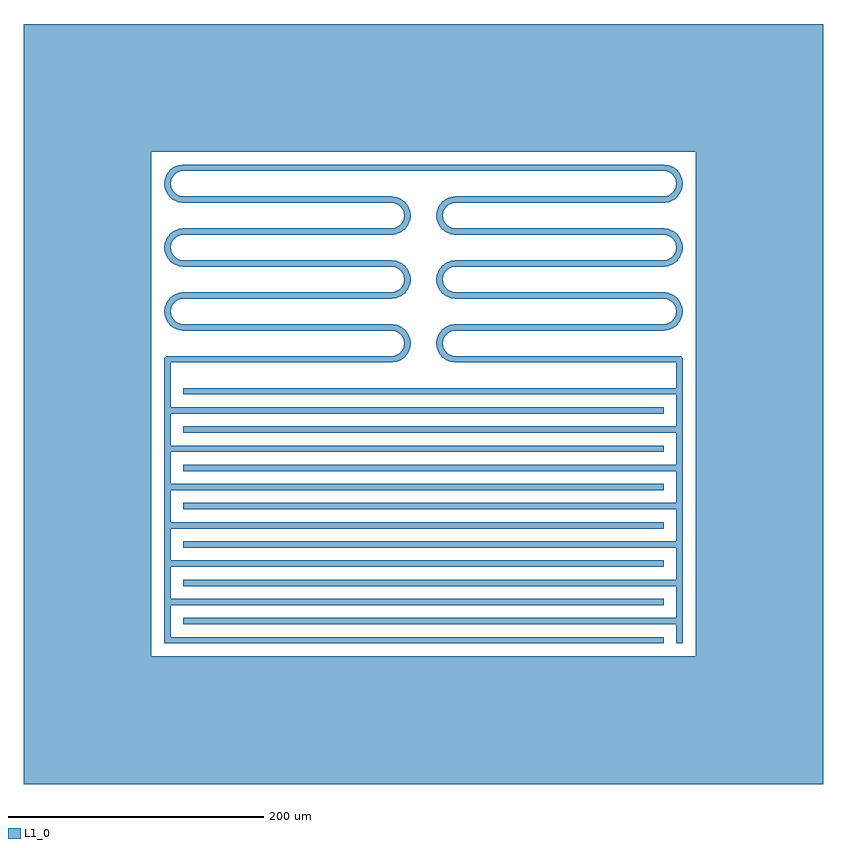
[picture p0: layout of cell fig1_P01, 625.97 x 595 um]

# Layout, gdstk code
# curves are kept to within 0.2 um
import gdstk
lib = gdstk.Library(unit=1e-6, precision=1e-09)
def R(c, l, rs):  # rectangles x0, y0, x1, y1
    for r in rs: c.add(gdstk.rectangle(r[:2], r[2:], *l))
def A(c, l, x, y, w, h, nx, ny, dx, dy):  # array of equal rectangles
    R(c, l, [(x+i*dx, y+j*dy, x+i*dx+w, y+j*dy+h) for i in range(nx) for j in range(ny)])
def P(c, l, *ps):  # polygons
    for p in ps: c.add(gdstk.Polygon(p, *l))
L1_0 = (1, 0)

fig1_p01 = lib.new_cell('fig1_P01')
A(fig1_p01, L1_0, -202.984, 0, 390.968, 5, 1, 7, 0, 30)
A(fig1_p01, L1_0, -187.984, 15, 390.968, 5, 1, 7, 0, 30)
A(fig1_p01, L1_0, -187.984, 245, 162.984, 5, 1, 5, 0, 25)
A(fig1_p01, L1_0, 25, 245, 162.984, 5, 1, 5, 0, 25)
R(fig1_p01, L1_0, [(-312.984,-110,312.984,-10), (-312.984,-10,-212.984,385), (212.984,-10,312.984,385), (-202.984,0,-197.984,200), (197.984,0,202.984,200), (-202.984,197.5,-197.984,222.5), (197.984,197.5,202.984,222.5), (-200.484,220,-25,225), (25,220,200.484,225), (-187.984,370,187.984,375), (-312.984,385,312.984,485)])
P(fig1_p01, L1_0, [(14.979,334.674),(10.021,335.326),(10.447,338.562),(15.405,337.909)],
  [(12.926,335.735),(11.158,336.467),(10.426,338.235),(11.158,340.003),(12.926,340.735),(14.694,340.003),(15.426,338.235),(14.694,336.467)],
  [(12.5,332.5),(10.732,333.232),(10,335),(10.732,336.768),(12.5,337.5),(14.268,336.768),(15,335),(14.268,333.232)],
  [(195.756,347.191),(192.712,351.158),(195.301,353.145),(198.345,349.178)],
  [(192.176,345.616),(190.263,350.236),(193.277,351.484),(195.191,346.865)],
  [(188.31,345.021),(187.658,349.979),(190.893,350.405),(191.546,345.447)],
  [(190.893,369.595),(187.658,370.021),(188.31,374.979),(191.546,374.553)],
  [(193.277,368.516),(190.263,369.764),(192.176,374.384),(195.191,373.135)],
  [(195.301,366.855),(192.712,368.842),(195.756,372.809),(198.345,370.822)],
  [(196.826,364.728),(194.839,367.317),(198.806,370.361),(200.793,367.772)],
  [(197.748,362.279),(196.5,365.293),(201.119,367.207),(202.368,364.192)],
  [(198.005,359.674),(197.579,362.909),(202.537,363.562),(202.963,360.326)],
  [(202.537,356.438),(197.579,357.091),(198.005,360.326),(202.963,359.674)],
  [(187.984,370),(186.216,370.732),(185.484,372.5),(186.216,374.268),(187.984,375),(189.752,374.268),(190.484,372.5),(189.752,370.732)],
  [(191.219,369.574),(189.451,370.306),(188.719,372.074),(189.451,373.842),(191.219,374.574),(192.987,373.842),(193.719,372.074),(192.987,370.306)],
  [(194.234,368.325),(192.466,369.058),(191.734,370.825),(192.466,372.593),(194.234,373.325),(196.002,372.593),(196.734,370.825),(196.002,369.058)],
  [(196.823,366.339),(195.055,367.071),(194.323,368.839),(195.055,370.607),(196.823,371.339),(198.591,370.607),(199.323,368.839),(198.591,367.071)],
  [(198.809,363.75),(197.042,364.482),(196.309,366.25),(197.042,368.018),(198.809,368.75),(200.577,368.018),(201.309,366.25),(200.577,364.482)],
  [(200.058,360.735),(198.29,361.467),(197.558,363.235),(198.29,365.003),(200.058,365.735),(201.826,365.003),(202.558,363.235),(201.826,361.467)],
  [(200.484,357.5),(198.716,358.232),(197.984,360),(198.716,361.768),(200.484,362.5),(202.252,361.768),(202.984,360),(202.252,358.232)],
  [(200.058,354.265),(198.29,354.997),(197.558,356.765),(198.29,358.533),(200.058,359.265),(201.826,358.533),(202.558,356.765),(201.826,354.997)],
  [(198.809,351.25),(197.042,351.982),(196.309,353.75),(197.042,355.518),(198.809,356.25),(200.577,355.518),(201.309,353.75),(200.577,351.982)],
  [(196.823,348.661),(195.055,349.393),(194.323,351.161),(195.055,352.929),(196.823,353.661),(198.591,352.929),(199.323,351.161),(198.591,349.393)],
  [(194.234,346.675),(192.466,347.407),(191.734,349.175),(192.466,350.942),(194.234,351.675),(196.002,350.942),(196.734,349.175),(196.002,347.407)],
  [(191.219,345.426),(189.451,346.158),(188.719,347.926),(189.451,349.694),(191.219,350.426),(192.987,349.694),(193.719,347.926),(192.987,346.158)],
  [(187.984,345),(186.216,345.732),(185.484,347.5),(186.216,349.268),(187.984,350),(189.752,349.268),(190.484,347.5),(189.752,345.732)],
  [(201.119,352.793),(196.5,354.707),(197.748,357.721),(202.368,355.808)],
  [(198.806,349.639),(194.839,352.683),(196.826,355.272),(200.793,352.228)],
  [(19.707,343.516),(17.793,348.135),(20.808,349.384),(22.721,344.764)],
  [(17.683,341.855),(14.639,345.822),(17.228,347.809),(20.272,343.842)],
  [(16.158,339.728),(12.191,342.772),(14.178,345.361),(18.145,342.317)],
  [(25,345),(23.232,345.732),(22.5,347.5),(23.232,349.268),(25,350),(26.768,349.268),(27.5,347.5),(26.768,345.732)],
  [(21.765,344.574),(19.997,345.306),(19.265,347.074),(19.997,348.842),(21.765,349.574),(23.533,348.842),(24.265,347.074),(23.533,345.306)],
  [(18.75,343.325),(16.982,344.058),(16.25,345.825),(16.982,347.593),(18.75,348.325),(20.518,347.593),(21.25,345.825),(20.518,344.058)],
  [(16.161,341.339),(14.393,342.071),(13.661,343.839),(14.393,345.607),(16.161,346.339),(17.929,345.607),(18.661,343.839),(17.929,342.071)],
  [(14.175,338.75),(12.407,339.482),(11.675,341.25),(12.407,343.018),(14.175,343.75),(15.942,343.018),(16.675,341.25),(15.942,339.482)],
  [(15.236,337.279),(10.616,339.192),(11.865,342.207),(16.484,340.293)],
  [(22.091,344.595),(21.438,349.553),(24.674,349.979),(25.326,345.021)],
  [(16.158,239.728),(12.191,242.772),(14.178,245.361),(18.145,242.317)],
  [(15.236,237.279),(10.616,239.192),(11.865,242.207),(16.484,240.293)],
  [(14.979,234.674),(10.021,235.326),(10.447,238.562),(15.405,237.909)],
  [(10.447,231.438),(10.021,234.674),(14.979,235.326),(15.405,232.091)],
  [(11.865,227.793),(10.616,230.808),(15.236,232.721),(16.484,229.707)],
  [(14.178,224.639),(12.191,227.228),(16.158,230.272),(18.145,227.683)],
  [(17.228,222.191),(14.639,224.178),(17.683,228.145),(20.272,226.158)],
  [(20.808,220.616),(17.793,221.865),(19.707,226.484),(22.721,225.236)],
  [(24.674,220.021),(21.438,220.447),(22.091,225.405),(25.326,224.979)],
  [(20.808,320.616),(17.793,321.865),(19.707,326.484),(22.721,325.236)],
  [(24.674,320.021),(21.438,320.447),(22.091,325.405),(25.326,324.979)],
  [(10.447,331.438),(10.021,334.674),(14.979,335.326),(15.405,332.091)],
  [(11.865,327.793),(10.616,330.808),(15.236,332.721),(16.484,329.707)],
  [(22.091,294.595),(21.438,299.553),(24.674,299.979),(25.326,295.021)],
  [(19.707,293.516),(17.793,298.135),(20.808,299.384),(22.721,294.764)],
  [(17.683,291.855),(14.639,295.822),(17.228,297.809),(20.272,293.842)],
  [(16.158,289.728),(12.191,292.772),(14.178,295.361),(18.145,292.317)],
  [(15.236,287.279),(10.616,289.192),(11.865,292.207),(16.484,290.293)],
  [(14.979,284.674),(10.021,285.326),(10.447,288.562),(15.405,287.909)],
  [(10.447,281.438),(10.021,284.674),(14.979,285.326),(15.405,282.091)],
  [(11.865,277.793),(10.616,280.808),(15.236,282.721),(16.484,279.707)],
  [(14.178,274.639),(12.191,277.228),(16.158,280.272),(18.145,277.683)],
  [(17.228,272.191),(14.639,274.178),(17.683,278.145),(20.272,276.158)],
  [(20.808,270.616),(17.793,271.865),(19.707,276.484),(22.721,275.236)],
  [(24.674,270.021),(21.438,270.447),(22.091,275.405),(25.326,274.979)],
  [(14.178,324.639),(12.191,327.228),(16.158,330.272),(18.145,327.683)],
  [(17.228,322.191),(14.639,324.178),(17.683,328.145),(20.272,326.158)],
  [(22.091,244.595),(21.438,249.553),(24.674,249.979),(25.326,245.021)],
  [(19.707,243.516),(17.793,248.135),(20.808,249.384),(22.721,244.764)],
  [(17.683,241.855),(14.639,245.822),(17.228,247.809),(20.272,243.842)],
  [(12.926,329.265),(11.158,329.997),(10.426,331.765),(11.158,333.533),(12.926,334.265),(14.694,333.533),(15.426,331.765),(14.694,329.997)],
  [(14.175,326.25),(12.407,326.982),(11.675,328.75),(12.407,330.518),(14.175,331.25),(15.942,330.518),(16.675,328.75),(15.942,326.982)],
  [(16.161,323.661),(14.393,324.393),(13.661,326.161),(14.393,327.929),(16.161,328.661),(17.929,327.929),(18.661,326.161),(17.929,324.393)],
  [(18.75,321.675),(16.982,322.407),(16.25,324.175),(16.982,325.942),(18.75,326.675),(20.518,325.942),(21.25,324.175),(20.518,322.407)],
  [(21.765,320.426),(19.997,321.158),(19.265,322.926),(19.997,324.694),(21.765,325.426),(23.533,324.694),(24.265,322.926),(23.533,321.158)],
  [(25,320),(23.232,320.732),(22.5,322.5),(23.232,324.268),(25,325),(26.768,324.268),(27.5,322.5),(26.768,320.732)],
  [(25,295),(23.232,295.732),(22.5,297.5),(23.232,299.268),(25,300),(26.768,299.268),(27.5,297.5),(26.768,295.732)],
  [(21.765,294.574),(19.997,295.306),(19.265,297.074),(19.997,298.842),(21.765,299.574),(23.533,298.842),(24.265,297.074),(23.533,295.306)],
  [(18.75,293.325),(16.982,294.058),(16.25,295.825),(16.982,297.593),(18.75,298.325),(20.518,297.593),(21.25,295.825),(20.518,294.058)],
  [(16.161,291.339),(14.393,292.071),(13.661,293.839),(14.393,295.607),(16.161,296.339),(17.929,295.607),(18.661,293.839),(17.929,292.071)],
  [(14.175,288.75),(12.407,289.482),(11.675,291.25),(12.407,293.018),(14.175,293.75),(15.942,293.018),(16.675,291.25),(15.942,289.482)],
  [(12.926,285.735),(11.158,286.467),(10.426,288.235),(11.158,290.003),(12.926,290.735),(14.694,290.003),(15.426,288.235),(14.694,286.467)],
  [(12.5,282.5),(10.732,283.232),(10,285),(10.732,286.768),(12.5,287.5),(14.268,286.768),(15,285),(14.268,283.232)],
  [(12.926,279.265),(11.158,279.997),(10.426,281.765),(11.158,283.533),(12.926,284.265),(14.694,283.533),(15.426,281.765),(14.694,279.997)],
  [(14.175,276.25),(12.407,276.982),(11.675,278.75),(12.407,280.518),(14.175,281.25),(15.942,280.518),(16.675,278.75),(15.942,276.982)],
  [(16.161,273.661),(14.393,274.393),(13.661,276.161),(14.393,277.929),(16.161,278.661),(17.929,277.929),(18.661,276.161),(17.929,274.393)],
  [(18.75,271.675),(16.982,272.407),(16.25,274.175),(16.982,275.942),(18.75,276.675),(20.518,275.942),(21.25,274.175),(20.518,272.407)],
  [(21.765,270.426),(19.997,271.158),(19.265,272.926),(19.997,274.694),(21.765,275.426),(23.533,274.694),(24.265,272.926),(23.533,271.158)],
  [(25,270),(23.232,270.732),(22.5,272.5),(23.232,274.268),(25,275),(26.768,274.268),(27.5,272.5),(26.768,270.732)],
  [(25,245),(23.232,245.732),(22.5,247.5),(23.232,249.268),(25,250),(26.768,249.268),(27.5,247.5),(26.768,245.732)],
  [(21.765,244.574),(19.997,245.306),(19.265,247.074),(19.997,248.842),(21.765,249.574),(23.533,248.842),(24.265,247.074),(23.533,245.306)],
  [(18.75,243.325),(16.982,244.058),(16.25,245.825),(16.982,247.593),(18.75,248.325),(20.518,247.593),(21.25,245.825),(20.518,244.058)],
  [(16.161,241.339),(14.393,242.071),(13.661,243.839),(14.393,245.607),(16.161,246.339),(17.929,245.607),(18.661,243.839),(17.929,242.071)],
  [(14.175,238.75),(12.407,239.482),(11.675,241.25),(12.407,243.018),(14.175,243.75),(15.942,243.018),(16.675,241.25),(15.942,239.482)],
  [(12.926,235.735),(11.158,236.467),(10.426,238.235),(11.158,240.003),(12.926,240.735),(14.694,240.003),(15.426,238.235),(14.694,236.467)],
  [(12.5,232.5),(10.732,233.232),(10,235),(10.732,236.768),(12.5,237.5),(14.268,236.768),(15,235),(14.268,233.232)],
  [(12.926,229.265),(11.158,229.997),(10.426,231.765),(11.158,233.533),(12.926,234.265),(14.694,233.533),(15.426,231.765),(14.694,229.997)],
  [(14.175,226.25),(12.407,226.982),(11.675,228.75),(12.407,230.518),(14.175,231.25),(15.942,230.518),(16.675,228.75),(15.942,226.982)],
  [(16.161,223.661),(14.393,224.393),(13.661,226.161),(14.393,227.929),(16.161,228.661),(17.929,227.929),(18.661,226.161),(17.929,224.393)],
  [(18.75,221.675),(16.982,222.407),(16.25,224.175),(16.982,225.942),(18.75,226.675),(20.518,225.942),(21.25,224.175),(20.518,222.407)],
  [(21.765,220.426),(19.997,221.158),(19.265,222.926),(19.997,224.694),(21.765,225.426),(23.533,224.694),(24.265,222.926),(23.533,221.158)],
  [(25,220),(23.232,220.732),(22.5,222.5),(23.232,224.268),(25,225),(26.768,224.268),(27.5,222.5),(26.768,220.732)],
  [(191.219,319.574),(189.451,320.306),(188.719,322.074),(189.451,323.842),(191.219,324.574),(192.987,323.842),(193.719,322.074),(192.987,320.306)],
  [(194.234,318.325),(192.466,319.058),(191.734,320.825),(192.466,322.593),(194.234,323.325),(196.002,322.593),(196.734,320.825),(196.002,319.058)],
  [(196.823,316.339),(195.055,317.071),(194.323,318.839),(195.055,320.607),(196.823,321.339),(198.591,320.607),(199.323,318.839),(198.591,317.071)],
  [(198.809,313.75),(197.042,314.482),(196.309,316.25),(197.042,318.018),(198.809,318.75),(200.577,318.018),(201.309,316.25),(200.577,314.482)],
  [(200.058,310.735),(198.29,311.467),(197.558,313.235),(198.29,315.003),(200.058,315.735),(201.826,315.003),(202.558,313.235),(201.826,311.467)],
  [(200.484,307.5),(198.716,308.232),(197.984,310),(198.716,311.768),(200.484,312.5),(202.252,311.768),(202.984,310),(202.252,308.232)],
  [(200.058,304.265),(198.29,304.997),(197.558,306.765),(198.29,308.533),(200.058,309.265),(201.826,308.533),(202.558,306.765),(201.826,304.997)],
  [(198.809,301.25),(197.042,301.982),(196.309,303.75),(197.042,305.518),(198.809,306.25),(200.577,305.518),(201.309,303.75),(200.577,301.982)],
  [(196.823,298.661),(195.055,299.393),(194.323,301.161),(195.055,302.929),(196.823,303.661),(198.591,302.929),(199.323,301.161),(198.591,299.393)],
  [(194.234,296.675),(192.466,297.407),(191.734,299.175),(192.466,300.942),(194.234,301.675),(196.002,300.942),(196.734,299.175),(196.002,297.407)],
  [(191.219,295.426),(189.451,296.158),(188.719,297.926),(189.451,299.694),(191.219,300.426),(192.987,299.694),(193.719,297.926),(192.987,296.158)],
  [(187.984,295),(186.216,295.732),(185.484,297.5),(186.216,299.268),(187.984,300),(189.752,299.268),(190.484,297.5),(189.752,295.732)],
  [(195.301,266.855),(192.712,268.842),(195.756,272.809),(198.345,270.822)],
  [(196.826,264.728),(194.839,267.317),(198.806,270.361),(200.793,267.772)],
  [(197.748,262.279),(196.5,265.293),(201.119,267.207),(202.368,264.192)],
  [(198.005,259.674),(197.579,262.909),(202.537,263.562),(202.963,260.326)],
  [(202.537,256.438),(197.579,257.091),(198.005,260.326),(202.963,259.674)],
  [(201.119,252.793),(196.5,254.707),(197.748,257.721),(202.368,255.808)],
  [(198.806,249.639),(194.839,252.683),(196.826,255.272),(200.793,252.228)],
  [(195.756,247.191),(192.712,251.158),(195.301,253.145),(198.345,249.178)],
  [(192.176,245.616),(190.263,250.236),(193.277,251.484),(195.191,246.865)],
  [(188.31,245.021),(187.658,249.979),(190.893,250.405),(191.546,245.447)],
  [(190.893,319.595),(187.658,320.021),(188.31,324.979),(191.546,324.553)],
  [(193.277,318.516),(190.263,319.764),(192.176,324.384),(195.191,323.135)],
  [(195.301,316.855),(192.712,318.842),(195.756,322.809),(198.345,320.822)],
  [(187.984,270),(186.216,270.732),(185.484,272.5),(186.216,274.268),(187.984,275),(189.752,274.268),(190.484,272.5),(189.752,270.732)],
  [(191.219,269.574),(189.451,270.306),(188.719,272.074),(189.451,273.842),(191.219,274.574),(192.987,273.842),(193.719,272.074),(192.987,270.306)],
  [(194.234,268.325),(192.466,269.058),(191.734,270.825),(192.466,272.593),(194.234,273.325),(196.002,272.593),(196.734,270.825),(196.002,269.058)],
  [(196.823,266.339),(195.055,267.071),(194.323,268.839),(195.055,270.607),(196.823,271.339),(198.591,270.607),(199.323,268.839),(198.591,267.071)],
  [(198.809,263.75),(197.042,264.482),(196.309,266.25),(197.042,268.018),(198.809,268.75),(200.577,268.018),(201.309,266.25),(200.577,264.482)],
  [(200.058,260.735),(198.29,261.467),(197.558,263.235),(198.29,265.003),(200.058,265.735),(201.826,265.003),(202.558,263.235),(201.826,261.467)],
  [(200.484,257.5),(198.716,258.232),(197.984,260),(198.716,261.768),(200.484,262.5),(202.252,261.768),(202.984,260),(202.252,258.232)],
  [(200.058,254.265),(198.29,254.997),(197.558,256.765),(198.29,258.533),(200.058,259.265),(201.826,258.533),(202.558,256.765),(201.826,254.997)],
  [(198.809,251.25),(197.042,251.982),(196.309,253.75),(197.042,255.518),(198.809,256.25),(200.577,255.518),(201.309,253.75),(200.577,251.982)],
  [(196.823,248.661),(195.055,249.393),(194.323,251.161),(195.055,252.929),(196.823,253.661),(198.591,252.929),(199.323,251.161),(198.591,249.393)],
  [(194.234,246.675),(192.466,247.407),(191.734,249.175),(192.466,250.942),(194.234,251.675),(196.002,250.942),(196.734,249.175),(196.002,247.407)],
  [(191.219,245.426),(189.451,246.158),(188.719,247.926),(189.451,249.694),(191.219,250.426),(192.987,249.694),(193.719,247.926),(192.987,246.158)],
  [(187.984,245),(186.216,245.732),(185.484,247.5),(186.216,249.268),(187.984,250),(189.752,249.268),(190.484,247.5),(189.752,245.732)],
  [(196.826,314.728),(194.839,317.317),(198.806,320.361),(200.793,317.772)],
  [(197.748,312.279),(196.5,315.293),(201.119,317.207),(202.368,314.192)],
  [(198.005,309.674),(197.579,312.909),(202.537,313.562),(202.963,310.326)],
  [(202.537,306.438),(197.579,307.091),(198.005,310.326),(202.963,309.674)],
  [(201.119,302.793),(196.5,304.707),(197.748,307.721),(202.368,305.808)],
  [(198.806,299.639),(194.839,302.683),(196.826,305.272),(200.793,302.228)],
  [(195.756,297.191),(192.712,301.158),(195.301,303.145),(198.345,299.178)],
  [(192.176,295.616),(190.263,300.236),(193.277,301.484),(195.191,296.865)],
  [(188.31,295.021),(187.658,299.979),(190.893,300.405),(191.546,295.447)],
  [(190.893,269.595),(187.658,270.021),(188.31,274.979),(191.546,274.553)],
  [(193.277,268.516),(190.263,269.764),(192.176,274.384),(195.191,273.135)],
  [(187.984,320),(186.216,320.732),(185.484,322.5),(186.216,324.268),(187.984,325),(189.752,324.268),(190.484,322.5),(189.752,320.732)],
  [(200.484,220),(198.716,220.732),(197.984,222.5),(198.716,224.268),(200.484,225),(202.252,224.268),(202.984,222.5),(202.252,220.732)],
  [(-12.5,332.5),(-14.268,333.232),(-15,335),(-14.268,336.768),(-12.5,337.5),(-10.732,336.768),(-10,335),(-10.732,333.232)],
  [(-12.926,335.735),(-14.694,336.467),(-15.426,338.235),(-14.694,340.003),(-12.926,340.735),(-11.158,340.003),(-10.426,338.235),(-11.158,336.467)],
  [(-14.979,334.674),(-15.405,337.909),(-10.447,338.562),(-10.021,335.326)],
  [(-18.75,343.325),(-20.518,344.058),(-21.25,345.825),(-20.518,347.593),(-18.75,348.325),(-16.982,347.593),(-16.25,345.825),(-16.982,344.058)],
  [(-21.765,344.574),(-23.533,345.306),(-24.265,347.074),(-23.533,348.842),(-21.765,349.574),(-19.997,348.842),(-19.265,347.074),(-19.997,345.306)],
  [(-25,345),(-26.768,345.732),(-27.5,347.5),(-26.768,349.268),(-25,350),(-23.232,349.268),(-22.5,347.5),(-23.232,345.732)],
  [(-14.175,338.75),(-15.942,339.482),(-16.675,341.25),(-15.942,343.018),(-14.175,343.75),(-12.407,343.018),(-11.675,341.25),(-12.407,339.482)],
  [(-15.236,337.279),(-16.484,340.293),(-11.865,342.207),(-10.616,339.192)],
  [(-16.158,339.728),(-18.145,342.317),(-14.178,345.361),(-12.191,342.772)],
  [(-17.683,341.855),(-20.272,343.842),(-17.228,347.809),(-14.639,345.822)],
  [(-19.707,343.516),(-22.721,344.764),(-20.808,349.384),(-17.793,348.135)],
  [(-22.091,344.595),(-25.326,345.021),(-24.674,349.979),(-21.438,349.553)],
  [(-16.161,341.339),(-17.929,342.071),(-18.661,343.839),(-17.929,345.607),(-16.161,346.339),(-14.393,345.607),(-13.661,343.839),(-14.393,342.071)],
  [(-187.984,370),(-189.752,370.732),(-190.484,372.5),(-189.752,374.268),(-187.984,375),(-186.216,374.268),(-185.484,372.5),(-186.216,370.732)],
  [(-187.984,345),(-189.752,345.732),(-190.484,347.5),(-189.752,349.268),(-187.984,350),(-186.216,349.268),(-185.484,347.5),(-186.216,345.732)],
  [(-191.219,345.426),(-192.987,346.158),(-193.719,347.926),(-192.987,349.694),(-191.219,350.426),(-189.451,349.694),(-188.719,347.926),(-189.451,346.158)],
  [(-194.234,346.675),(-196.002,347.407),(-196.734,349.175),(-196.002,350.942),(-194.234,351.675),(-192.466,350.942),(-191.734,349.175),(-192.466,347.407)],
  [(-196.823,348.661),(-198.591,349.393),(-199.323,351.161),(-198.591,352.929),(-196.823,353.661),(-195.055,352.929),(-194.323,351.161),(-195.055,349.393)],
  [(-198.809,351.25),(-200.577,351.982),(-201.309,353.75),(-200.577,355.518),(-198.809,356.25),(-197.042,355.518),(-196.309,353.75),(-197.042,351.982)],
  [(-200.058,354.265),(-201.826,354.997),(-202.558,356.765),(-201.826,358.533),(-200.058,359.265),(-198.29,358.533),(-197.558,356.765),(-198.29,354.997)],
  [(-200.484,357.5),(-202.252,358.232),(-202.984,360),(-202.252,361.768),(-200.484,362.5),(-198.716,361.768),(-197.984,360),(-198.716,358.232)],
  [(-200.058,360.735),(-201.826,361.467),(-202.558,363.235),(-201.826,365.003),(-200.058,365.735),(-198.29,365.003),(-197.558,363.235),(-198.29,361.467)],
  [(-198.809,363.75),(-200.577,364.482),(-201.309,366.25),(-200.577,368.018),(-198.809,368.75),(-197.042,368.018),(-196.309,366.25),(-197.042,364.482)],
  [(-196.823,366.339),(-198.591,367.071),(-199.323,368.839),(-198.591,370.607),(-196.823,371.339),(-195.055,370.607),(-194.323,368.839),(-195.055,367.071)],
  [(-194.234,368.325),(-196.002,369.058),(-196.734,370.825),(-196.002,372.593),(-194.234,373.325),(-192.466,372.593),(-191.734,370.825),(-192.466,369.058)],
  [(-191.219,369.574),(-192.987,370.306),(-193.719,372.074),(-192.987,373.842),(-191.219,374.574),(-189.451,373.842),(-188.719,372.074),(-189.451,370.306)],
  [(-188.31,345.021),(-191.546,345.447),(-190.893,350.405),(-187.658,349.979)],
  [(-192.176,345.616),(-195.191,346.865),(-193.277,351.484),(-190.263,350.236)],
  [(-195.756,347.191),(-198.345,349.178),(-195.301,353.145),(-192.712,351.158)],
  [(-198.806,349.639),(-200.793,352.228),(-196.826,355.272),(-194.839,352.683)],
  [(-201.119,352.793),(-202.368,355.808),(-197.748,357.721),(-196.5,354.707)],
  [(-202.537,356.438),(-202.963,359.674),(-198.005,360.326),(-197.579,357.091)],
  [(-198.005,359.674),(-202.963,360.326),(-202.537,363.562),(-197.579,362.909)],
  [(-197.748,362.279),(-202.368,364.192),(-201.119,367.207),(-196.5,365.293)],
  [(-196.826,364.728),(-200.793,367.772),(-198.806,370.361),(-194.839,367.317)],
  [(-195.301,366.855),(-198.345,370.822),(-195.756,372.809),(-192.712,368.842)],
  [(-193.277,368.516),(-195.191,373.135),(-192.176,374.384),(-190.263,369.764)],
  [(-190.893,369.595),(-191.546,374.553),(-188.31,374.979),(-187.658,370.021)],
  [(-196.823,298.661),(-198.591,299.393),(-199.323,301.161),(-198.591,302.929),(-196.823,303.661),(-195.055,302.929),(-194.323,301.161),(-195.055,299.393)],
  [(-198.809,301.25),(-200.577,301.982),(-201.309,303.75),(-200.577,305.518),(-198.809,306.25),(-197.042,305.518),(-196.309,303.75),(-197.042,301.982)],
  [(-200.058,304.265),(-201.826,304.997),(-202.558,306.765),(-201.826,308.533),(-200.058,309.265),(-198.29,308.533),(-197.558,306.765),(-198.29,304.997)],
  [(-200.484,307.5),(-202.252,308.232),(-202.984,310),(-202.252,311.768),(-200.484,312.5),(-198.716,311.768),(-197.984,310),(-198.716,308.232)],
  [(-200.058,310.735),(-201.826,311.467),(-202.558,313.235),(-201.826,315.003),(-200.058,315.735),(-198.29,315.003),(-197.558,313.235),(-198.29,311.467)],
  [(-188.31,245.021),(-191.546,245.447),(-190.893,250.405),(-187.658,249.979)],
  [(-192.176,245.616),(-195.191,246.865),(-193.277,251.484),(-190.263,250.236)],
  [(-195.756,247.191),(-198.345,249.178),(-195.301,253.145),(-192.712,251.158)],
  [(-198.806,249.639),(-200.793,252.228),(-196.826,255.272),(-194.839,252.683)],
  [(-201.119,252.793),(-202.368,255.808),(-197.748,257.721),(-196.5,254.707)],
  [(-202.537,256.438),(-202.963,259.674),(-198.005,260.326),(-197.579,257.091)],
  [(-198.005,259.674),(-202.963,260.326),(-202.537,263.562),(-197.579,262.909)],
  [(-197.748,262.279),(-202.368,264.192),(-201.119,267.207),(-196.5,265.293)],
  [(-196.826,264.728),(-200.793,267.772),(-198.806,270.361),(-194.839,267.317)],
  [(-195.301,266.855),(-198.345,270.822),(-195.756,272.809),(-192.712,268.842)],
  [(-193.277,268.516),(-195.191,273.135),(-192.176,274.384),(-190.263,269.764)],
  [(-190.893,269.595),(-191.546,274.553),(-188.31,274.979),(-187.658,270.021)],
  [(-198.809,313.75),(-200.577,314.482),(-201.309,316.25),(-200.577,318.018),(-198.809,318.75),(-197.042,318.018),(-196.309,316.25),(-197.042,314.482)],
  [(-196.823,316.339),(-198.591,317.071),(-199.323,318.839),(-198.591,320.607),(-196.823,321.339),(-195.055,320.607),(-194.323,318.839),(-195.055,317.071)],
  [(-188.31,295.021),(-191.546,295.447),(-190.893,300.405),(-187.658,299.979)],
  [(-192.176,295.616),(-195.191,296.865),(-193.277,301.484),(-190.263,300.236)],
  [(-195.756,297.191),(-198.345,299.178),(-195.301,303.145),(-192.712,301.158)],
  [(-198.806,299.639),(-200.793,302.228),(-196.826,305.272),(-194.839,302.683)],
  [(-201.119,302.793),(-202.368,305.808),(-197.748,307.721),(-196.5,304.707)],
  [(-202.537,306.438),(-202.963,309.674),(-198.005,310.326),(-197.579,307.091)],
  [(-198.005,309.674),(-202.963,310.326),(-202.537,313.562),(-197.579,312.909)],
  [(-197.748,312.279),(-202.368,314.192),(-201.119,317.207),(-196.5,315.293)],
  [(-196.826,314.728),(-200.793,317.772),(-198.806,320.361),(-194.839,317.317)],
  [(-195.301,316.855),(-198.345,320.822),(-195.756,322.809),(-192.712,318.842)],
  [(-193.277,318.516),(-195.191,323.135),(-192.176,324.384),(-190.263,319.764)],
  [(-190.893,319.595),(-191.546,324.553),(-188.31,324.979),(-187.658,320.021)],
  [(-194.234,318.325),(-196.002,319.058),(-196.734,320.825),(-196.002,322.593),(-194.234,323.325),(-192.466,322.593),(-191.734,320.825),(-192.466,319.058)],
  [(-191.219,319.574),(-192.987,320.306),(-193.719,322.074),(-192.987,323.842),(-191.219,324.574),(-189.451,323.842),(-188.719,322.074),(-189.451,320.306)],
  [(-187.984,320),(-189.752,320.732),(-190.484,322.5),(-189.752,324.268),(-187.984,325),(-186.216,324.268),(-185.484,322.5),(-186.216,320.732)],
  [(-200.484,220),(-202.252,220.732),(-202.984,222.5),(-202.252,224.268),(-200.484,225),(-198.716,224.268),(-197.984,222.5),(-198.716,220.732)],
  [(-187.984,245),(-189.752,245.732),(-190.484,247.5),(-189.752,249.268),(-187.984,250),(-186.216,249.268),(-185.484,247.5),(-186.216,245.732)],
  [(-191.219,245.426),(-192.987,246.158),(-193.719,247.926),(-192.987,249.694),(-191.219,250.426),(-189.451,249.694),(-188.719,247.926),(-189.451,246.158)],
  [(-194.234,246.675),(-196.002,247.407),(-196.734,249.175),(-196.002,250.942),(-194.234,251.675),(-192.466,250.942),(-191.734,249.175),(-192.466,247.407)],
  [(-196.823,248.661),(-198.591,249.393),(-199.323,251.161),(-198.591,252.929),(-196.823,253.661),(-195.055,252.929),(-194.323,251.161),(-195.055,249.393)],
  [(-198.809,251.25),(-200.577,251.982),(-201.309,253.75),(-200.577,255.518),(-198.809,256.25),(-197.042,255.518),(-196.309,253.75),(-197.042,251.982)],
  [(-200.058,254.265),(-201.826,254.997),(-202.558,256.765),(-201.826,258.533),(-200.058,259.265),(-198.29,258.533),(-197.558,256.765),(-198.29,254.997)],
  [(-200.484,257.5),(-202.252,258.232),(-202.984,260),(-202.252,261.768),(-200.484,262.5),(-198.716,261.768),(-197.984,260),(-198.716,258.232)],
  [(-200.058,260.735),(-201.826,261.467),(-202.558,263.235),(-201.826,265.003),(-200.058,265.735),(-198.29,265.003),(-197.558,263.235),(-198.29,261.467)],
  [(-198.809,263.75),(-200.577,264.482),(-201.309,266.25),(-200.577,268.018),(-198.809,268.75),(-197.042,268.018),(-196.309,266.25),(-197.042,264.482)],
  [(-196.823,266.339),(-198.591,267.071),(-199.323,268.839),(-198.591,270.607),(-196.823,271.339),(-195.055,270.607),(-194.323,268.839),(-195.055,267.071)],
  [(-194.234,268.325),(-196.002,269.058),(-196.734,270.825),(-196.002,272.593),(-194.234,273.325),(-192.466,272.593),(-191.734,270.825),(-192.466,269.058)],
  [(-191.219,269.574),(-192.987,270.306),(-193.719,272.074),(-192.987,273.842),(-191.219,274.574),(-189.451,273.842),(-188.719,272.074),(-189.451,270.306)],
  [(-187.984,270),(-189.752,270.732),(-190.484,272.5),(-189.752,274.268),(-187.984,275),(-186.216,274.268),(-185.484,272.5),(-186.216,270.732)],
  [(-187.984,295),(-189.752,295.732),(-190.484,297.5),(-189.752,299.268),(-187.984,300),(-186.216,299.268),(-185.484,297.5),(-186.216,295.732)],
  [(-191.219,295.426),(-192.987,296.158),(-193.719,297.926),(-192.987,299.694),(-191.219,300.426),(-189.451,299.694),(-188.719,297.926),(-189.451,296.158)],
  [(-194.234,296.675),(-196.002,297.407),(-196.734,299.175),(-196.002,300.942),(-194.234,301.675),(-192.466,300.942),(-191.734,299.175),(-192.466,297.407)],
  [(-25,245),(-26.768,245.732),(-27.5,247.5),(-26.768,249.268),(-25,250),(-23.232,249.268),(-22.5,247.5),(-23.232,245.732)],
  [(-25,320),(-26.768,320.732),(-27.5,322.5),(-26.768,324.268),(-25,325),(-23.232,324.268),(-22.5,322.5),(-23.232,320.732)],
  [(-21.765,320.426),(-23.533,321.158),(-24.265,322.926),(-23.533,324.694),(-21.765,325.426),(-19.997,324.694),(-19.265,322.926),(-19.997,321.158)],
  [(-18.75,321.675),(-20.518,322.407),(-21.25,324.175),(-20.518,325.942),(-18.75,326.675),(-16.982,325.942),(-16.25,324.175),(-16.982,322.407)],
  [(-16.161,323.661),(-17.929,324.393),(-18.661,326.161),(-17.929,327.929),(-16.161,328.661),(-14.393,327.929),(-13.661,326.161),(-14.393,324.393)],
  [(-14.175,326.25),(-15.942,326.982),(-16.675,328.75),(-15.942,330.518),(-14.175,331.25),(-12.407,330.518),(-11.675,328.75),(-12.407,326.982)],
  [(-12.926,329.265),(-14.694,329.997),(-15.426,331.765),(-14.694,333.533),(-12.926,334.265),(-11.158,333.533),(-10.426,331.765),(-11.158,329.997)],
  [(-25,270),(-26.768,270.732),(-27.5,272.5),(-26.768,274.268),(-25,275),(-23.232,274.268),(-22.5,272.5),(-23.232,270.732)],
  [(-21.765,270.426),(-23.533,271.158),(-24.265,272.926),(-23.533,274.694),(-21.765,275.426),(-19.997,274.694),(-19.265,272.926),(-19.997,271.158)],
  [(-18.75,271.675),(-20.518,272.407),(-21.25,274.175),(-20.518,275.942),(-18.75,276.675),(-16.982,275.942),(-16.25,274.175),(-16.982,272.407)],
  [(-16.161,273.661),(-17.929,274.393),(-18.661,276.161),(-17.929,277.929),(-16.161,278.661),(-14.393,277.929),(-13.661,276.161),(-14.393,274.393)],
  [(-24.674,270.021),(-25.326,274.979),(-22.091,275.405),(-21.438,270.447)],
  [(-20.808,270.616),(-22.721,275.236),(-19.707,276.484),(-17.793,271.865)],
  [(-17.228,272.191),(-20.272,276.158),(-17.683,278.145),(-14.639,274.178)],
  [(-14.178,274.639),(-18.145,277.683),(-16.158,280.272),(-12.191,277.228)],
  [(-11.865,277.793),(-16.484,279.707),(-15.236,282.721),(-10.616,280.808)],
  [(-10.447,281.438),(-15.405,282.091),(-14.979,285.326),(-10.021,284.674)],
  [(-14.979,284.674),(-15.405,287.909),(-10.447,288.562),(-10.021,285.326)],
  [(-15.236,287.279),(-16.484,290.293),(-11.865,292.207),(-10.616,289.192)],
  [(-16.158,289.728),(-18.145,292.317),(-14.178,295.361),(-12.191,292.772)],
  [(-17.683,291.855),(-20.272,293.842),(-17.228,297.809),(-14.639,295.822)],
  [(-19.707,293.516),(-22.721,294.764),(-20.808,299.384),(-17.793,298.135)],
  [(-22.091,294.595),(-25.326,295.021),(-24.674,299.979),(-21.438,299.553)],
  [(-14.175,276.25),(-15.942,276.982),(-16.675,278.75),(-15.942,280.518),(-14.175,281.25),(-12.407,280.518),(-11.675,278.75),(-12.407,276.982)],
  [(-12.926,279.265),(-14.694,279.997),(-15.426,281.765),(-14.694,283.533),(-12.926,284.265),(-11.158,283.533),(-10.426,281.765),(-11.158,279.997)],
  [(-12.5,282.5),(-14.268,283.232),(-15,285),(-14.268,286.768),(-12.5,287.5),(-10.732,286.768),(-10,285),(-10.732,283.232)],
  [(-12.926,285.735),(-14.694,286.467),(-15.426,288.235),(-14.694,290.003),(-12.926,290.735),(-11.158,290.003),(-10.426,288.235),(-11.158,286.467)],
  [(-14.175,288.75),(-15.942,289.482),(-16.675,291.25),(-15.942,293.018),(-14.175,293.75),(-12.407,293.018),(-11.675,291.25),(-12.407,289.482)],
  [(-16.161,291.339),(-17.929,292.071),(-18.661,293.839),(-17.929,295.607),(-16.161,296.339),(-14.393,295.607),(-13.661,293.839),(-14.393,292.071)],
  [(-18.75,293.325),(-20.518,294.058),(-21.25,295.825),(-20.518,297.593),(-18.75,298.325),(-16.982,297.593),(-16.25,295.825),(-16.982,294.058)],
  [(-21.765,294.574),(-23.533,295.306),(-24.265,297.074),(-23.533,298.842),(-21.765,299.574),(-19.997,298.842),(-19.265,297.074),(-19.997,295.306)],
  [(-25,295),(-26.768,295.732),(-27.5,297.5),(-26.768,299.268),(-25,300),(-23.232,299.268),(-22.5,297.5),(-23.232,295.732)],
  [(-25,220),(-26.768,220.732),(-27.5,222.5),(-26.768,224.268),(-25,225),(-23.232,224.268),(-22.5,222.5),(-23.232,220.732)],
  [(-21.765,220.426),(-23.533,221.158),(-24.265,222.926),(-23.533,224.694),(-21.765,225.426),(-19.997,224.694),(-19.265,222.926),(-19.997,221.158)],
  [(-18.75,221.675),(-20.518,222.407),(-21.25,224.175),(-20.518,225.942),(-18.75,226.675),(-16.982,225.942),(-16.25,224.175),(-16.982,222.407)],
  [(-16.161,223.661),(-17.929,224.393),(-18.661,226.161),(-17.929,227.929),(-16.161,228.661),(-14.393,227.929),(-13.661,226.161),(-14.393,224.393)],
  [(-14.175,226.25),(-15.942,226.982),(-16.675,228.75),(-15.942,230.518),(-14.175,231.25),(-12.407,230.518),(-11.675,228.75),(-12.407,226.982)],
  [(-24.674,320.021),(-25.326,324.979),(-22.091,325.405),(-21.438,320.447)],
  [(-20.808,320.616),(-22.721,325.236),(-19.707,326.484),(-17.793,321.865)],
  [(-17.228,322.191),(-20.272,326.158),(-17.683,328.145),(-14.639,324.178)],
  [(-14.178,324.639),(-18.145,327.683),(-16.158,330.272),(-12.191,327.228)],
  [(-11.865,327.793),(-16.484,329.707),(-15.236,332.721),(-10.616,330.808)],
  [(-10.447,331.438),(-15.405,332.091),(-14.979,335.326),(-10.021,334.674)],
  [(-12.926,229.265),(-14.694,229.997),(-15.426,231.765),(-14.694,233.533),(-12.926,234.265),(-11.158,233.533),(-10.426,231.765),(-11.158,229.997)],
  [(-12.5,232.5),(-14.268,233.232),(-15,235),(-14.268,236.768),(-12.5,237.5),(-10.732,236.768),(-10,235),(-10.732,233.232)],
  [(-12.926,235.735),(-14.694,236.467),(-15.426,238.235),(-14.694,240.003),(-12.926,240.735),(-11.158,240.003),(-10.426,238.235),(-11.158,236.467)],
  [(-14.175,238.75),(-15.942,239.482),(-16.675,241.25),(-15.942,243.018),(-14.175,243.75),(-12.407,243.018),(-11.675,241.25),(-12.407,239.482)],
  [(-24.674,220.021),(-25.326,224.979),(-22.091,225.405),(-21.438,220.447)],
  [(-20.808,220.616),(-22.721,225.236),(-19.707,226.484),(-17.793,221.865)],
  [(-17.228,222.191),(-20.272,226.158),(-17.683,228.145),(-14.639,224.178)],
  [(-14.178,224.639),(-18.145,227.683),(-16.158,230.272),(-12.191,227.228)],
  [(-11.865,227.793),(-16.484,229.707),(-15.236,232.721),(-10.616,230.808)],
  [(-10.447,231.438),(-15.405,232.091),(-14.979,235.326),(-10.021,234.674)],
  [(-14.979,234.674),(-15.405,237.909),(-10.447,238.562),(-10.021,235.326)],
  [(-15.236,237.279),(-16.484,240.293),(-11.865,242.207),(-10.616,239.192)],
  [(-16.158,239.728),(-18.145,242.317),(-14.178,245.361),(-12.191,242.772)],
  [(-17.683,241.855),(-20.272,243.842),(-17.228,247.809),(-14.639,245.822)],
  [(-19.707,243.516),(-22.721,244.764),(-20.808,249.384),(-17.793,248.135)],
  [(-22.091,244.595),(-25.326,245.021),(-24.674,249.979),(-21.438,249.553)],
  [(-16.161,241.339),(-17.929,242.071),(-18.661,243.839),(-17.929,245.607),(-16.161,246.339),(-14.393,245.607),(-13.661,243.839),(-14.393,242.071)],
  [(-18.75,243.325),(-20.518,244.058),(-21.25,245.825),(-20.518,247.593),(-18.75,248.325),(-16.982,247.593),(-16.25,245.825),(-16.982,244.058)],
  [(-21.765,244.574),(-23.533,245.306),(-24.265,247.074),(-23.533,248.842),(-21.765,249.574),(-19.997,248.842),(-19.265,247.074),(-19.997,245.306)])

lib.write_gds('fig1_P01.gds')
